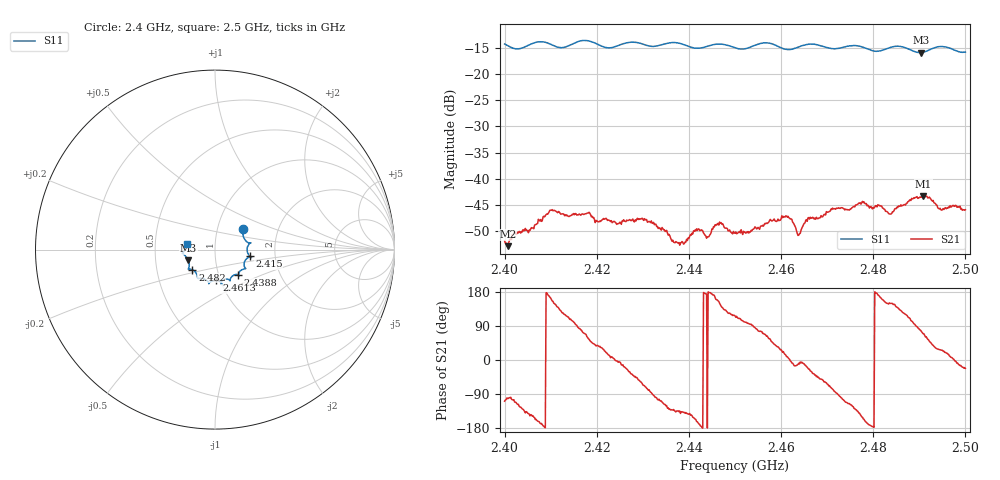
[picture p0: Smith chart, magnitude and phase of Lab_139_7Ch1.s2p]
# Hz S RI R 50
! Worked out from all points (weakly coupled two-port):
!   601 points, 2.4 GHz to 2.5 GHz, reference 50 ohm
!   highest |S21| = -43.27 dB at 2.4908 GHz (marker M1); lowest = -52.9 dB at 2.4007 GHz (marker M2)
!   lowest |S11| = -15.9 dB at 2.4903 GHz (marker M3), VSWR 1.38, Z = 36.8 - j4.44 ohm
!   |S11| at or under -10 dB: start of sweep to end of sweep
!   S12 and S22 are empty: the file has one direction only
!   S11 on the Smith chart (normalised r, x): 2.4 GHz: 1.33, +0.31; 2.415 GHz: 1.47, -0.11; 2.4388 GHz: 1.24, -0.36; 2.4613 GHz: 0.96, -0.34; 2.482 GHz: 0.76, -0.17; 2.5 GHz: 0.72, +0.05
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2.4e9  0.1575 0.1125  -0.000813 -0.00242  0 0  0 0
2.400667e9  0.1561 0.1032  -0.00048 -0.00222  0 0  0 0
2.410167e9  0.1886 0.0294  -0.0047 0.00175  0 0  0 0
2.415e9  0.1927 -0.0364  -0.000794 0.00459  0 0  0 0
2.416667e9  0.2035 -0.0443  0.000883 0.00448  0 0  0 0
2.433333e9  0.1325 -0.1317  -0.000894 -0.00323  0 0  0 0
2.438833e9  0.1296 -0.1408  -0.00178 -0.00158  0 0  0 0
2.441667e9  0.1026 -0.1434  -0.00317 -0.00102  0 0  0 0
2.444167e9  0.0849 -0.1647  -0.00279 7.15e-06  0 0  0 0
2.4465e9  0.0841 -0.1745  -0.00325 0.00157  0 0  0 0
2.45e9  0.0686 -0.1646  -0.00135 0.0027  0 0  0 0
2.456833e9  0.0388 -0.1948  0.00173 0.00336  0 0  0 0
2.461333e9  0.00817 -0.1712  0.00425 0.000666  0 0  0 0
2.463833e9  -0.0254 -0.1797  0.00287 -0.000437  0 0  0 0
2.466667e9  -0.0346 -0.1903  0.00358 -0.00222  0 0  0 0
2.4775e9  -0.0973 -0.154  -0.00512 -0.00296  0 0  0 0
2.482e9  -0.1262 -0.1116  -0.00493 0.00186  0 0  0 0
2.483333e9  -0.1399 -0.1088  -0.00394 0.00249  0 0  0 0
2.490333e9  -0.1491 -0.0588  0.00143 0.00648  0 0  0 0
2.490833e9  -0.1532 -0.0513  0.00241 0.00643  0 0  0 0
2.4945e9  -0.1818 -0.0207  0.00466 0.00238  0 0  0 0
2.5e9  -0.1588 0.0324  0.00469 -0.00191  0 0  0 0
